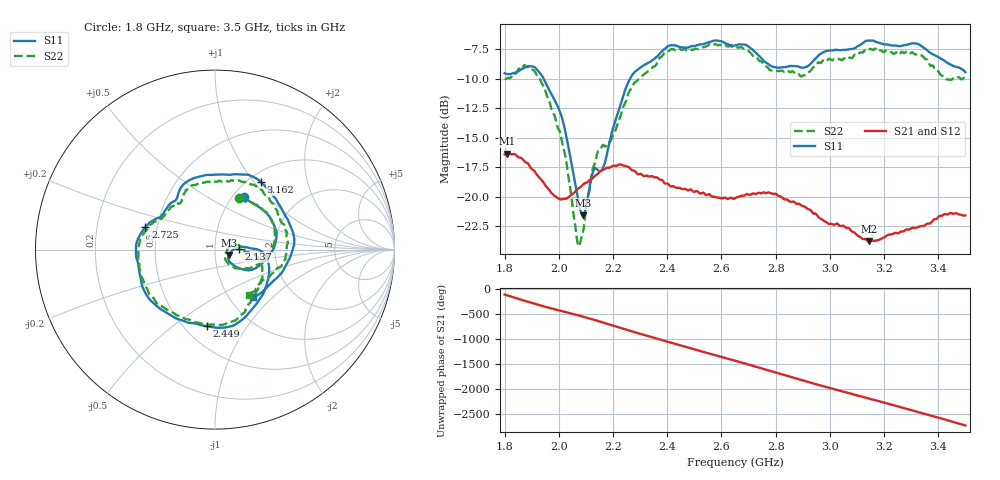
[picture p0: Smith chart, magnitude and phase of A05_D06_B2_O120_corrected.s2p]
! Created with skrf 1.9.0 (http://scikit-rf.org).
# Hz S RI R 50.0
!freq ReS11 ImS11 ReS21 ImS21 ReS12 ImS12 ReS22 ImS22
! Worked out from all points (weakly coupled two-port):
!   1601 points, 1.8 GHz to 3.5 GHz, reference 50 ohm
!   highest |S21| = -16.34 dB at 1.811 GHz (marker M1); lowest = -23.7 dB at 3.144 GHz (marker M2)
!   lowest |S11| = -21.6 dB at 2.09 GHz (marker M3), VSWR 1.18, Z = 58.3 - j3.6 ohm
!   |S11| at or under -10 dB: 1.944 GHz to 2.263 GHz (319.2 MHz wide, 15.2 % of centre)
!   |S22| runs from -24.2 to -7.1 dB; largest |S21 - S12| = 0.0025
!   S11 on the Smith chart (normalised r, x): 1.8 GHz: 1.12, +0.74; 2.137 GHz: 1.30, +0.01; 2.449 GHz: 0.64, -0.67; 2.725 GHz: 0.43, +0.13; 3.162 GHz: 1.14, +1.09; 3.5 GHz: 1.28, -0.76
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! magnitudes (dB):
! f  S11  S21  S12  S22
! 1.8 GHz  -9.6  -16.4  -16.4  -10.0
! 1.811 GHz  -9.6  -16.3  -16.3  -10.0
! 1.88 GHz  -9.0  -17.1  -17.1  -9.0
! 1.941 GHz  -9.9  -18.7  -18.7  -10.6
! 2.013 GHz  -13.4  -20.2  -20.2  -15.5
! 2.067 GHz  -19.7  -19.4  -19.4  -23.5
! 2.084 GHz  -21.4  -19.1  -19.1  -23.4
! 2.09 GHz  -21.6  -19.0  -19.0  -22.9
! 2.137 GHz  -17.6  -18.2  -18.2  -16.8
! 2.166 GHz  -17.4  -17.7  -17.7  -15.6
! 2.264 GHz  -9.9  -17.6  -17.6  -11.0
! 2.367 GHz  -8.0  -18.5  -18.4  -8.4
! 2.449 GHz  -7.4  -19.3  -19.3  -7.6
! 2.65 GHz  -7.2  -20.1  -20.1  -7.4
! 2.725 GHz  -7.8  -19.8  -19.7  -8.1
! 2.798 GHz  -9.0  -19.8  -19.7  -9.4
! 2.934 GHz  -8.6  -21.3  -21.2  -9.2
! 3.144 GHz  -6.8  -23.7  -23.7  -7.6
! 3.162 GHz  -6.8  -23.7  -23.7  -7.5
! 3.217 GHz  -7.1  -23.2  -23.2  -7.8
! 3.324 GHz  -7.1  -22.6  -22.5  -8.0
! 3.5 GHz  -9.5  -21.6  -21.6  -10.1
